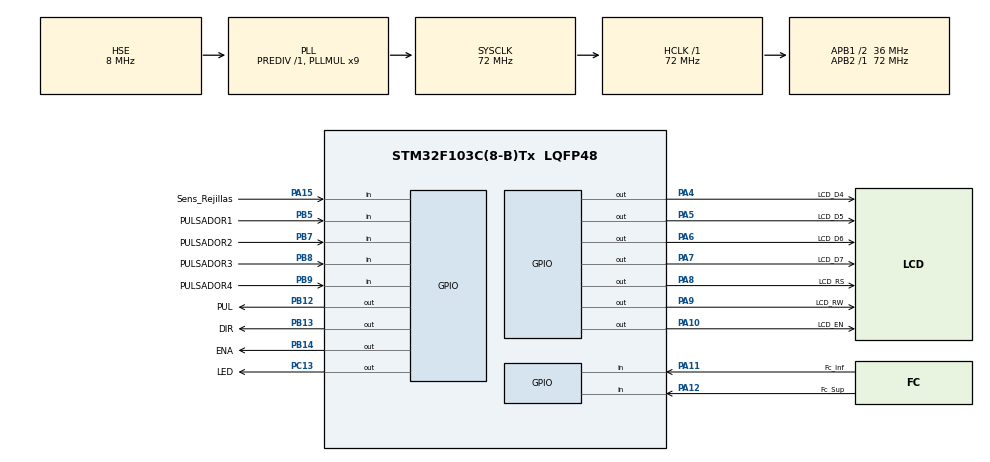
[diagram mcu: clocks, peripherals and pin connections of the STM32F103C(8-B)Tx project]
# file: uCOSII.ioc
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Mcu.Family=STM32F1
PB14.GPIO_Label=ENA
PA6.GPIO_Label=LCD_D6
PA11.GPIO_PuPd=GPIO_PULLDOWN
PB13.GPIO_Label=DIR
PB13.Signal=GPIO_Output
RCC.SYSCLKSource=RCC_SYSCLKSOURCE_PLLCLK
ProjectManager.StackSize=0x400
PD1-OSC_OUT.Signal=RCC_OSC_OUT
PA15.GPIO_Label=Sens_Rejillas
PA12.Signal=GPIO_Input
RCC.HCLKFreq_Value=72000000
RCC.APB2TimFreq_Value=72000000
RCC.AHBFreq_Value=72000000
RCC.PLLMUL=RCC_PLL_MUL9
PB12.GPIO_Label=PUL
PC13-TAMPER-RTC.PinState=GPIO_PIN_SET
PA14.Mode=Serial_Wire
PA10.GPIO_Label=LCD_EN
PB7.Signal=GPIO_Input
PA8.Signal=GPIO_Output
TIM4.Period=125 - 1
PB7.GPIO_Label=PULSADOR2
PB9.Signal=GPIO_Input
Mcu.Package=LQFP48
PA6.Signal=GPIO_Output
PA10.Signal=GPIO_Output
PA15.Signal=GPIO_Input
PB5.GPIO_Label=PULSADOR1
RCC.APB1TimFreq_Value=72000000
PA12.GPIO_PuPd=GPIO_PULLDOWN
PA4.GPIO_Label=LCD_D4
RCC.PLLSourceVirtual=RCC_PLLSOURCE_HSE
PD1-OSC_OUT.Mode=HSE-External-Oscillator
PB9.GPIO_Label=PULSADOR4
PA9.GPIO_Label=LCD_RW
PC13-TAMPER-RTC.Signal=GPIO_Output
RCC.USBPrescaler=RCC_USBCLKSOURCE_PLL_DIV1_5
PA11.GPIO_Label=Fc_Inf
PD0-OSC_IN.Signal=RCC_OSC_IN
RCC.APB1CLKDivider=RCC_HCLK_DIV2
PA12.GPIO_Label=Fc_Sup
PA13.Signal=SYS_JTMS-SWDIO
PB8.GPIO_Label=PULSADOR3
PA8.GPIO_Label=LCD_RS
ProjectManager.TargetToolchain=STM32CubeIDE
PA9.Signal=GPIO_Output
RCC.USBFreq_Value=48000000
TIM4.Prescaler=72 - 1
PD0-OSC_IN.Mode=HSE-External-Oscillator
PB14.Signal=GPIO_Output
PA5.Signal=GPIO_Output
board=custom
PC13-TAMPER-RTC.GPIO_Label=LED
RCC.APB2Freq_Value=72000000
PA13.Mode=Serial_Wire
Mcu.Name=STM32F103C(8-B)Tx
PA4.Signal=GPIO_Output
RCC.SYSCLKFreq_VALUE=72000000
PB5.Signal=GPIO_Input
PA7.GPIO_Label=LCD_D7
PA5.GPIO_Label=LCD_D5
PA11.Signal=GPIO_Input
PA14.Signal=SYS_JTCK-SWCLK
ProjectManager.HeapSize=0x200
VP_TIM4_VS_ClockSourceINT.Mode=Internal
NVIC.PriorityGroup=NVIC_PRIORITYGROUP_4
PA15.GPIO_PuPd=GPIO_PULLDOWN
PB8.Signal=GPIO_Input
NVIC.TIM4_IRQn=true\:0\:0\:false\:false\:true\:true\:true
RCC.APB1Freq_Value=36000000
PB12.Signal=GPIO_Output
PA7.Signal=GPIO_Output

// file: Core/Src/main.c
/* USER CODE BEGIN Header */
/**
 ******************************************************************************
 * @file           : main.c
 * @brief          : Main program body
 ******************************************************************************
 * @attention
 *
 * <h2><center>&copy; Copyright (c) 2019 STMicroelectronics.
 * All rights reserved.</center></h2>
 *
 * This software component is licensed by ST under BSD 3-Clause license,
 * the "License"; You may not use this file except in compliance with the
 * License. You may obtain a copy of the License at:
 *                        opensource.org/licenses/BSD-3-Clause
 *
 ******************************************************************************
 */
/* USER CODE END Header */
#include "main.h"

/* USER CODE BEGIN Includes */
#include <app_cfg.h>
#include <cpu_core.h>
#include <os.h>
#include "stdio.h"
#include <math.h>
#include "lib_str.h"
#include "stdarg.h"
#include "tareas.h"

/* USER CODE END Includes */

/* USER CODE BEGIN PD */
//#warning "Modify this value to match the number of external interrupts in your MCU"
#define EXT_INT_MAX_NBR 16u
/* USER CODE END PD */

TIM_HandleTypeDef htim4;

/* USER CODE BEGIN PV */
static void StartupTask (void *p_arg);
static OS_STK StartupTaskStk[APP_CFG_STARTUP_TASK_STK_SIZE];

static OS_STK Task1Stk[APP_CFG_TASK1_STK_SIZE];
static OS_STK Task2Stk[APP_CFG_TASK2_STK_SIZE];
static OS_STK Task3Stk[APP_CFG_TASK3_STK_SIZE];
static OS_STK Task4Stk[APP_CFG_TASK4_STK_SIZE];
static OS_STK Task5Stk[APP_CFG_TASK5_STK_SIZE];
static OS_STK Task6Stk[APP_CFG_TASK6_STK_SIZE];
static OS_STK Task7Stk[APP_CFG_TASK7_STK_SIZE];

/* USER CODE END PV */

void SystemClock_Config(void);
static void MX_GPIO_Init(void);
static void MX_TIM4_Init(void);
/* USER CODE BEGIN PFP */
static void App_Task1Create (void);
static void App_Task2Create (void);
static void App_Task3Create (void);
static void App_Task4Create (void);
static void App_Task5Create (void);
static void App_Task6Create (void);
static void App_Task7Create (void);
/* USER CODE END PFP */

int main(void)
{
  /* USER CODE BEGIN 1 */
#if (OS_TASK_NAME_EN > 0u)
	CPU_INT08U os_err;
#endif
	CPU_INT16U int_id;
  /* USER CODE END 1 */

  /* MCU Configuration--------------------------------------------------------*/

  /* Reset of all peripherals, Initializes the Flash interface and the Systick. */
  HAL_Init();

  /* USER CODE BEGIN Init */
	CPU_IntDis();
	for (int_id = CPU_INT_EXT0; int_id <= (EXT_INT_MAX_NBR - 1u); int_id++)
	{
		/* Set all external intr. to KA interrupt priority boundary */
		CPU_IntSrcPrioSet(int_id, CPU_CFG_KA_IPL_BOUNDARY, CPU_INT_KA);
	}
  /* USER CODE END Init */

  /* Configure the system clock */
  SystemClock_Config();

  /* Initialize all configured peripherals */
  MX_GPIO_Init();
  MX_TIM4_Init();
  /* USER CODE BEGIN 2 */

    HAL_TIM_Base_Start_IT(&htim4); // Start timer
	OSInit();// Inicia el OS

	OSTaskCreateExt( StartupTask,
			0,
			&StartupTaskStk[APP_CFG_STARTUP_TASK_STK_SIZE - 1],
			APP_CFG_STARTUP_TASK_PRIO,
			APP_CFG_STARTUP_TASK_PRIO,
			&StartupTaskStk[0],
			APP_CFG_STARTUP_TASK_STK_SIZE,
			0,
			(OS_TASK_OPT_STK_CHK | OS_TASK_OPT_STK_CLR));
#if (OS_TASK_NAME_EN > 0u)
	OSTaskNameSet( APP_CFG_STARTUP_TASK_PRIO,
			(INT8U *)"Startup task",
			&os_err);
#endif

	OSStart();
  /* USER CODE END 2 */

  /* Infinite loop */
	while (1)
	{

	}
}

void SystemClock_Config(void)
{
  RCC_OscInitTypeDef RCC_OscInitStruct = {0};
  RCC_ClkInitTypeDef RCC_ClkInitStruct = {0};

  /** Initializes the RCC Oscillators according to the specified parameters
  * in the RCC_OscInitTypeDef structure.
  */
  RCC_OscInitStruct.OscillatorType = RCC_OSCILLATORTYPE_HSE;
  RCC_OscInitStruct.HSEState = RCC_HSE_ON;
  RCC_OscInitStruct.HSEPredivValue = RCC_HSE_PREDIV_DIV1;
  RCC_OscInitStruct.HSIState = RCC_HSI_ON;
  RCC_OscInitStruct.PLL.PLLState = RCC_PLL_ON;
  RCC_OscInitStruct.PLL.PLLSource = RCC_PLLSOURCE_HSE;
  RCC_OscInitStruct.PLL.PLLMUL = RCC_PLL_MUL9;
  if (HAL_RCC_OscConfig(&RCC_OscInitStruct) != HAL_OK)
  {
    Error_Handler();
  }
  /** Initializes the CPU, AHB and APB buses clocks
  */
  RCC_ClkInitStruct.ClockType = RCC_CLOCKTYPE_HCLK|RCC_CLOCKTYPE_SYSCLK
                              |RCC_CLOCKTYPE_PCLK1|RCC_CLOCKTYPE_PCLK2;
  RCC_ClkInitStruct.SYSCLKSource = RCC_SYSCLKSOURCE_PLLCLK;
  RCC_ClkInitStruct.AHBCLKDivider = RCC_SYSCLK_DIV1;
  RCC_ClkInitStruct.APB1CLKDivider = RCC_HCLK_DIV2;
  RCC_ClkInitStruct.APB2CLKDivider = RCC_HCLK_DIV1;

  if (HAL_RCC_ClockConfig(&RCC_ClkInitStruct, FLASH_LATENCY_2) != HAL_OK)
  {
    Error_Handler();
  }
}

static void MX_TIM4_Init(void)
{

  TIM_ClockConfigTypeDef sClockSourceConfig = {0};
  TIM_MasterConfigTypeDef sMasterConfig = {0};

  htim4.Instance = TIM4;
  htim4.Init.Prescaler = 72 - 1;
  htim4.Init.CounterMode = TIM_COUNTERMODE_UP;
  htim4.Init.Period = 125 - 1;
  htim4.Init.ClockDivision = TIM_CLOCKDIVISION_DIV1;
  htim4.Init.AutoReloadPreload = TIM_AUTORELOAD_PRELOAD_DISABLE;
  if (HAL_TIM_Base_Init(&htim4) != HAL_OK)
  {
    Error_Handler();
  }
  sClockSourceConfig.ClockSource = TIM_CLOCKSOURCE_INTERNAL;
  if (HAL_TIM_ConfigClockSource(&htim4, &sClockSourceConfig) != HAL_OK)
  {
    Error_Handler();
  }
  sMasterConfig.MasterOutputTrigger = TIM_TRGO_RESET;
  sMasterConfig.MasterSlaveMode = TIM_MASTERSLAVEMODE_DISABLE;
  if (HAL_TIMEx_MasterConfigSynchronization(&htim4, &sMasterConfig) != HAL_OK)
  {
    Error_Handler();
  }

}

static void MX_GPIO_Init(void)
{
  GPIO_InitTypeDef GPIO_InitStruct = {0};

  /* GPIO Ports Clock Enable */
  __HAL_RCC_GPIOC_CLK_ENABLE();
  __HAL_RCC_GPIOD_CLK_ENABLE();
  __HAL_RCC_GPIOA_CLK_ENABLE();
  __HAL_RCC_GPIOB_CLK_ENABLE();

  /*Configure GPIO pin Output Level */
  HAL_GPIO_WritePin(LED_GPIO_Port, LED_Pin, GPIO_PIN_SET);

  /*Configure GPIO pin Output Level */
  HAL_GPIO_WritePin(GPIOA, LCD_D4_Pin|LCD_D5_Pin|LCD_D6_Pin|LCD_D7_Pin
                          |LCD_RS_Pin|LCD_RW_Pin|LCD_EN_Pin, GPIO_PIN_RESET);

  /*Configure GPIO pin Output Level */
  HAL_GPIO_WritePin(GPIOB, PUL_Pin|DIR_Pin|ENA_Pin, GPIO_PIN_RESET);

  /*Configure GPIO pin : LED_Pin */
  GPIO_InitStruct.Pin = LED_Pin;
  GPIO_InitStruct.Mode = GPIO_MODE_OUTPUT_PP;
  GPIO_InitStruct.Pull = GPIO_NOPULL;
  GPIO_InitStruct.Speed = GPIO_SPEED_FREQ_LOW;
  HAL_GPIO_Init(LED_GPIO_Port, &GPIO_InitStruct);

  /*Configure GPIO pins : LCD_D4_Pin LCD_D5_Pin LCD_D6_Pin LCD_D7_Pin
                           LCD_RS_Pin LCD_RW_Pin LCD_EN_Pin */
  GPIO_InitStruct.Pin = LCD_D4_Pin|LCD_D5_Pin|LCD_D6_Pin|LCD_D7_Pin
                          |LCD_RS_Pin|LCD_RW_Pin|LCD_EN_Pin;
  GPIO_InitStruct.Mode = GPIO_MODE_OUTPUT_PP;
  GPIO_InitStruct.Pull = GPIO_NOPULL;
  GPIO_InitStruct.Speed = GPIO_SPEED_FREQ_LOW;
  HAL_GPIO_Init(GPIOA, &GPIO_InitStruct);

  /*Configure GPIO pins : PUL_Pin DIR_Pin ENA_Pin */
  GPIO_InitStruct.Pin = PUL_Pin|DIR_Pin|ENA_Pin;
  GPIO_InitStruct.Mode = GPIO_MODE_OUTPUT_PP;
  GPIO_InitStruct.Pull = GPIO_NOPULL;
  GPIO_InitStruct.Speed = GPIO_SPEED_FREQ_LOW;
  HAL_GPIO_Init(GPIOB, &GPIO_InitStruct);

  /*Configure GPIO pins : Fc_Inf_Pin Fc_Sup_Pin Sens_Rejillas_Pin */
  GPIO_InitStruct.Pin = Fc_Inf_Pin|Fc_Sup_Pin|Sens_Rejillas_Pin;
  GPIO_InitStruct.Mode = GPIO_MODE_INPUT;
  GPIO_InitStruct.Pull = GPIO_PULLDOWN;
  HAL_GPIO_Init(GPIOA, &GPIO_InitStruct);

  /*Configure GPIO pins : PULSADOR1_Pin PULSADOR2_Pin PULSADOR3_Pin PULSADOR4_Pin */
  GPIO_InitStruct.Pin = PULSADOR1_Pin|PULSADOR2_Pin|PULSADOR3_Pin|PULSADOR4_Pin;
  GPIO_InitStruct.Mode = GPIO_MODE_INPUT;
  GPIO_InitStruct.Pull = GPIO_NOPULL;
  HAL_GPIO_Init(GPIOB, &GPIO_InitStruct);

}

/* USER CODE BEGIN 4 */
/*
 *************************************************************************
 * STM32Cube HAL FUNCTIONS
 *************************************************************************
 */
HAL_StatusTypeDef HAL_InitTick(uint32_t TickPriority)
{
	/* define as empty to prevent the system tick being initialized before
    the OS starts */
	return (HAL_OK);
}

uint32_t HAL_GetTick(void)
{
	CPU_INT32U os_tick_ctr;

#if (OS_VERSION >= 30000u)
	OS_ERR os_err;
	os_tick_ctr = OSTimeGet(&os_err);
#else
	os_tick_ctr = OSTimeGet();
#endif

	return os_tick_ctr;
}

/*
 *********************************************************************************************************
 *                                        HAL_TIM_PeriodElapsedCallback()
 *
 * Description : Acá se maneja el callback del timer 4. Genera una frecuencia fija de 4 khz
 * 				 y envía una bandera a una tarea.
 *
 * Argument(s) :
 *
 * Return(s)   : none.
 *
 * Caller(s)   : This is a task.
 *
 * Note(s)     : none.
 *********************************************************************************************************
 */
// Callback: timer has rolled over
void HAL_TIM_PeriodElapsedCallback(TIM_HandleTypeDef *htim)
{

  if (htim == &htim4 )
  {
	  OSSemPost(sem_Pulsos);		//Posteo una bandera a la tarea ControlMotor
  }
}
/*
 *********************************************************************************************************
 *                                          App_TaskStart()
 *
 * Description : The startup task.  The uC/OS-II ticker should only be initialize once multitasking starts.
 *
 * Argument(s) : p_arg       Argument passed to 'App_TaskStart()' by 'OSTaskCreate()'.
 *
 * Return(s)   : none.
 *
 * Caller(s)   : This is a task.
 *
 * Note(s)     : none.
 *********************************************************************************************************
 */

static void StartupTask (void *p_arg)
{
	CPU_INT32U cpu_clk;
	(void)p_arg;
	cpu_clk = HAL_RCC_GetHCLKFreq();
	/* Initialize and enable System Tick timer */
	OS_CPU_SysTickInitFreq(cpu_clk);

#if (OS_TASK_STAT_EN > 0)
	OSStatInit();                                               /* Determine CPU capacity.                              */
#endif

	App_Task1Create();											  //Creación de la tarea 1
	App_Task2Create();											  //Creación de la tarea 2
	App_Task3Create();											  //Creación de la tarea 3
	App_Task4Create();											  //Creación de la tarea 4
	App_Task5Create();											  //Creación de la tarea 5
	App_Task6Create();											  //Creación de la tarea 6
	App_Task7Create();											  //Creación de la tarea 7

	while (DEF_TRUE){
		HAL_GPIO_TogglePin(GPIOC, GPIO_PIN_13); //lifebit
		OSTimeDlyHMSM(0u, 0u, 1u, 0u);
	}
}

/*
*********************************************************************************************************
*                                 static void App_Task1Create (void)
*
* Description : Creacion de la tarea 1 - Lectura pulsadores
*
* Argument(s) : none
*
* Return(s)   : none.
*
* Caller(s)   : This is a task.
*
* Note(s)     : none.
*********************************************************************************************************
*/

static void App_Task1Create (void)
{
	CPU_INT08U os_err;

	os_err = OSTaskCreateExt((void (*)(void *)) LecturaPulsadores,
							 (void			* )0,
							 (OS_STK		* )&Task1Stk[APP_CFG_TASK1_STK_SIZE - 1],
							 (INT8U			  ) APP_CFG_TASK1_PRIO,
							 (INT16U		  ) APP_CFG_TASK1_PRIO,
							 (OS_STK		* )&Task1Stk[0],
							 (INT32U		  ) APP_CFG_TASK1_STK_SIZE,
							 (void			* )0,
							 (INT16U		  )(OS_TASK_OPT_STK_CLR | OS_TASK_OPT_STK_CHK));

	OSTaskNameSet(APP_CFG_TASK1_PRIO, (unsigned char *)"Lectura Pulsadores", &os_err);
}

/*
*********************************************************************************************************
*                                 static void App_Task2Create (void)
*
* Description : Creacion de la tarea 2 - Menu
*
* Argument(s) : none
*
* Return(s)   : none.
*
* Caller(s)   : This is a task.
*
* Note(s)     : none.
*********************************************************************************************************
*/

static void App_Task2Create (void)
{
	CPU_INT08U os_err;

	os_err = OSTaskCreateExt((void (*)(void *)) CicloAutomatico,
							 (void			* )0,
							 (OS_STK		* )&Task2Stk[APP_CFG_TASK2_STK_SIZE - 1],
							 (INT8U			  ) APP_CFG_TASK2_PRIO,
							 (INT16U		  ) APP_CFG_TASK2_PRIO,
							 (OS_STK		* )&Task2Stk[0],
							 (INT32U		  ) APP_CFG_TASK2_STK_SIZE,
							 (void			* )0,
							 (INT16U		  )(OS_TASK_OPT_STK_CLR | OS_TASK_OPT_STK_CHK));

	OSTaskNameSet(APP_CFG_TASK2_PRIO, (unsigned char *)"Ciclo Automatico", &os_err);
}

/*
*********************************************************************************************************
*                                 static void App_Task3Create (void)
*
* Description : Creacion de la tarea 3 - Tarea Principal
*
* Argument(s) : none
*
* Return(s)   : none.
*
* Caller(s)   : This is a task.
*
* Note(s)     : none.
*********************************************************************************************************
*/

static void App_Task3Create (void)
{
	CPU_INT08U os_err;

	os_err = OSTaskCreateExt((void (*)(void *)) TareaPrincipal,
							 (void			* )0,
							 (OS_STK		* )&Task3Stk[APP_CFG_TASK3_STK_SIZE - 1],
							 (INT8U			  ) APP_CFG_TASK3_PRIO,
							 (INT16U		  ) APP_CFG_TASK3_PRIO,
							 (OS_STK		* )&Task3Stk[0],
							 (INT32U		  ) APP_CFG_TASK3_STK_SIZE,
							 (void			* )0,
							 (INT16U		  )(OS_TASK_OPT_STK_CLR | OS_TASK_OPT_STK_CHK));

	OSTaskNameSet(APP_CFG_TASK3_PRIO, (unsigned char *)"Tarea Principal ", &os_err);
}
/*
*********************************************************************************************************
*                                 static void App_Task4Create (void)
*
* Description : Creacion de la tarea 4 - Lectura FC
*
* Argument(s) : none
*
* Return(s)   : none.
*
* Caller(s)   : This is a task.
*
* Note(s)     : none.
*********************************************************************************************************
*/

static void App_Task4Create (void)
{
	CPU_INT08U os_err;

	os_err = OSTaskCreateExt((void (*)(void *)) LecturaFC,
							 (void			* )0,
							 (OS_STK		* )&Task4Stk[APP_CFG_TASK4_STK_SIZE - 1],
							 (INT8U			  ) APP_CFG_TASK4_PRIO,
							 (INT16U		  ) APP_CFG_TASK4_PRIO,
							 (OS_STK		* )&Task4Stk[0],
							 (INT32U		  ) APP_CFG_TASK4_STK_SIZE,
							 (void			* )0,
							 (INT16U		  )(OS_TASK_OPT_STK_CLR | OS_TASK_OPT_STK_CHK));

	OSTaskNameSet(APP_CFG_TASK4_PRIO, (unsigned char *)"Lectura FC ", &os_err);
}
/*
*********************************************************************************************************
*                                 static void App_Task5Create (void)
*
* Description : Creacion de la tarea 5 - Lectura Rejillas
*
* Argument(s) : none
*
* Return(s)   : none.
*
* Caller(s)   : This is a task.
*
* Note(s)     : none.
*********************************************************************************************************
*/

static void App_Task5Create (void)
{
	CPU_INT08U os_err;

	os_err = OSTaskCreateExt((void (*)(void *)) LecturaRejillas,
							 (void			* )0,
							 (OS_STK		* )&Task5Stk[APP_CFG_TASK5_STK_SIZE - 1],
							 (INT8U			  ) APP_CFG_TASK5_PRIO,
							 (INT16U		  ) APP_CFG_TASK5_PRIO,
							 (OS_STK		* )&Task5Stk[0],
							 (INT32U		  ) APP_CFG_TASK5_STK_SIZE,
							 (void			* )0,
							 (INT16U		  )(OS_TASK_OPT_STK_CLR | OS_TASK_OPT_STK_CHK));

	OSTaskNameSet(APP_CFG_TASK5_PRIO, (unsigned char *)"Lectura Rejillas ", &os_err);
}
/*
*********************************************************************************************************
*                                 static void App_Task6Create (void)
*
* Description : Creacion de la tarea 6 - Control Motor
*
* Argument(s) : none
*
* Return(s)   : none.
*
* Caller(s)   : This is a task.
*
* Note(s)     : none.
*********************************************************************************************************
*/

static void App_Task6Create (void)
{
	CPU_INT08U os_err;

	os_err = OSTaskCreateExt((void (*)(void *)) ControlMotor,
							 (void			* )0,
							 (OS_STK		* )&Task6Stk[APP_CFG_TASK6_STK_SIZE - 1],
							 (INT8U			  ) APP_CFG_TASK6_PRIO,
							 (INT16U		  ) APP_CFG_TASK6_PRIO,
							 (OS_STK		* )&Task6Stk[0],
							 (INT32U		  ) APP_CFG_TASK6_STK_SIZE,
							 (void			* )0,
							 (INT16U		  )(OS_TASK_OPT_STK_CLR | OS_TASK_OPT_STK_CHK));

	OSTaskNameSet(APP_CFG_TASK6_PRIO, (unsigned char *)"Control Motor", &os_err);
}
/*
*********************************************************************************************************
*                                 static void App_Task7Create (void)
*
* Description : Creacion de la tarea 7 - ActualizarDisplay
*
* Argument(s) : none
*
* Return(s)   : none.
*
* Caller(s)   : This is a task.
*
* Note(s)     : none.
*********************************************************************************************************
*/

static void App_Task7Create (void)
{
	CPU_INT08U os_err;

	os_err = OSTaskCreateExt((void (*)(void *)) ActualizarDisplay,
							 (void			* )0,
							 (OS_STK		* )&Task7Stk[APP_CFG_TASK7_STK_SIZE - 1],
							 (INT8U			  ) APP_CFG_TASK7_PRIO,
							 (INT16U		  ) APP_CFG_TASK7_PRIO,
							 (OS_STK		* )&Task7Stk[0],
							 (INT32U		  ) APP_CFG_TASK7_STK_SIZE,
							 (void			* )0,
							 (INT16U		  )(OS_TASK_OPT_STK_CLR | OS_TASK_OPT_STK_CHK));

	OSTaskNameSet(APP_CFG_TASK7_PRIO, (unsigned char *)"Actualizar Display", &os_err);
}

/* USER CODE END 4 */

void Error_Handler(void)
{
}

/************************ (C) COPYRIGHT STMicroelectronics *****END OF FILE****/
